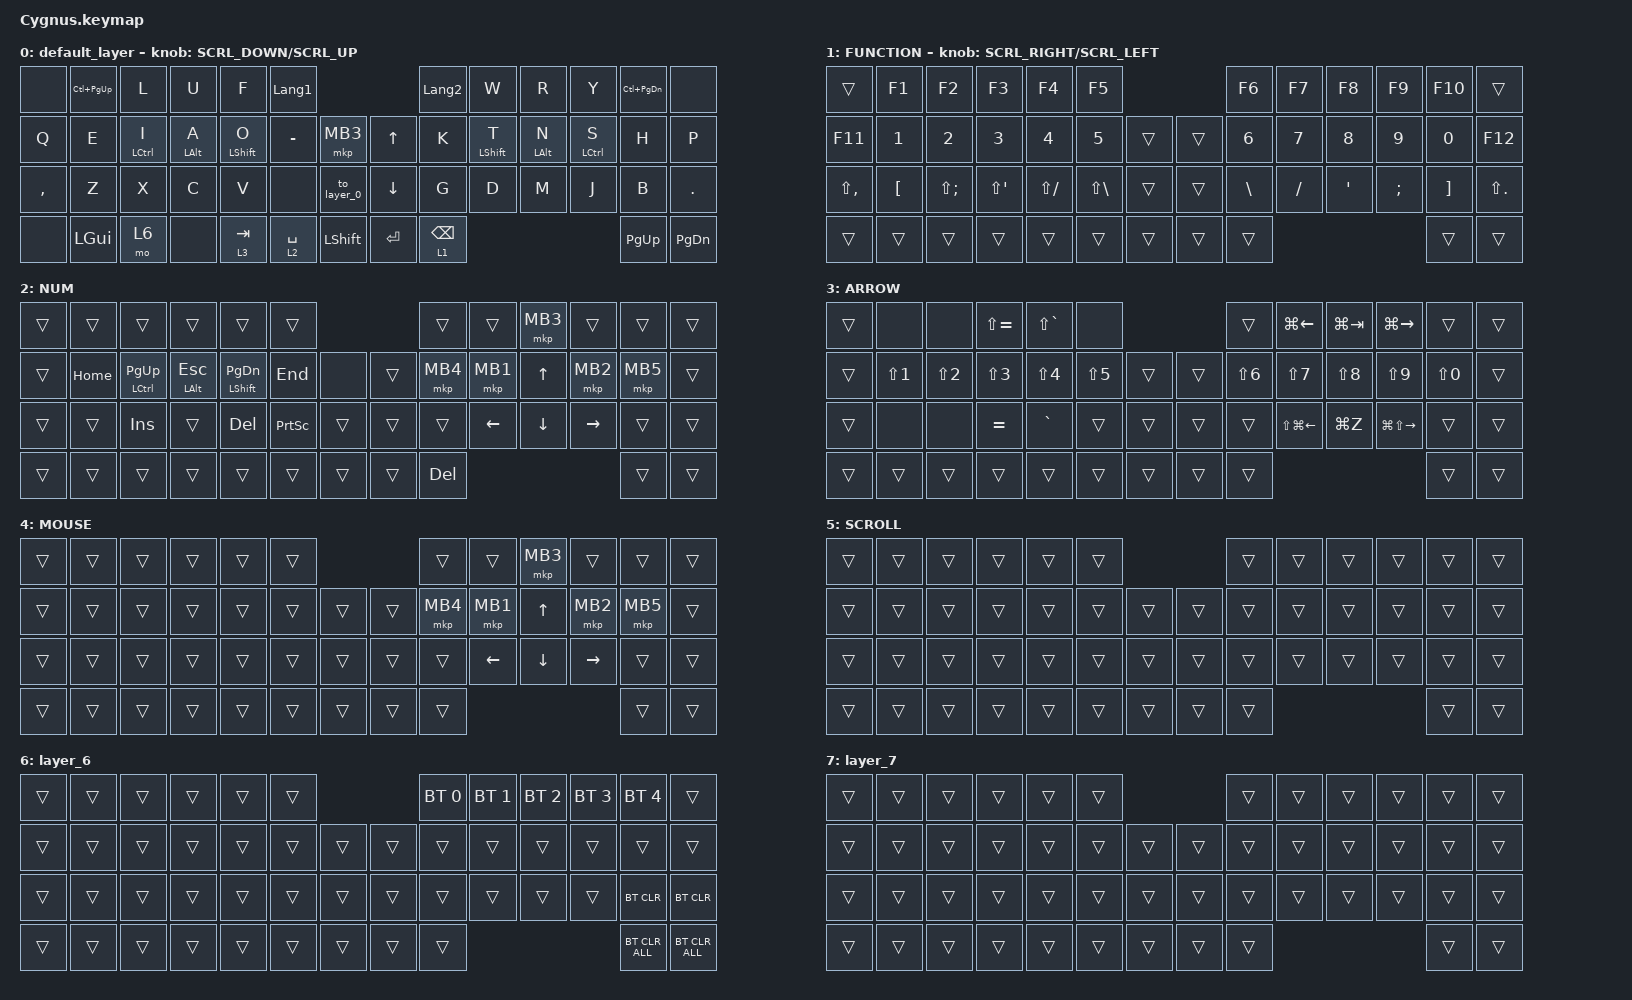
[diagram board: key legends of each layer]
#define ZMK_POINTING_DEFAULT_SCRL_VAL 120    // default: 10

#include <behaviors.dtsi>
#include <dt-bindings/zmk/bt.h>
#include <dt-bindings/zmk/keys.h>
#include <dt-bindings/zmk/pointing.h>

#define MOUSE 4
#define SCROLL 5
#define NUM 6

&mt {
    flavor = "balanced";
    quick-tap-ms = <0>;
};

/ {
    combos {
        compatible = "zmk,combos";

        double_quotation {
            bindings = <&kp DOUBLE_QUOTES>;
            key-positions = <20 21>;
        };
    };

    macros {
        to_layer_0: to_layer_0 {
            compatible = "zmk,behavior-macro";
            #binding-cells = <0>;
            bindings = <&kp NUMBER_1 &kp Q &kp W &kp E &kp R &kp T &kp Y &kp U &kp I &kp O &kp P &kp HASH>;
            label = "TO_LAYER_0";
        };
    };

    behaviors {
        lt_to_layer_0: lt_to_layer_0 {
            compatible = "zmk,behavior-hold-tap";
            label = "LAYER_TAP_TO_0";
            bindings = <&mo>, <&to_layer_0>;

            #binding-cells = <2>;
            tapping-term-ms = <200>;
        };

        ROTATE: ROTATE {
            compatible = "zmk,behavior-sensor-rotate-var";
            label = "ROTATE";
            #sensor-binding-cells = <2>;
            bindings = <&msc>, <&msc>;

            tap-ms = <20>;
        };
    };

    keymap {
        compatible = "zmk,keymap";

        default_layer {
            bindings = <
&none      &kp LC(PG_UP)  &kp L        &kp U           &kp F             &kp LANGUAGE_1                                    &kp LANGUAGE_2   &kp W             &kp R           &kp Y        &kp LC(PAGE_DOWN)  &none
&kp Q      &kp E          &mt LCTRL I  &mt LEFT_ALT A  &mt LEFT_SHIFT O  &kp MINUS       &mkp MB3          &kp UP_ARROW    &kp K            &mt LEFT_SHIFT T  &mt LEFT_ALT N  &mt LCTRL S  &kp H              &kp P
&kp COMMA  &kp Z          &kp X        &kp C           &kp V             &none           &to_layer_0       &kp DOWN_ARROW  &kp G            &kp D             &kp M           &kp J        &kp B              &kp PERIOD
&none      &kp LGUI       &mo 6        &none           &lt 3 TAB         &lt 2 SPACE     &kp LEFT_SHIFT    &kp ENTER       &lt 1 BACKSPACE                                                 &kp PG_UP          &kp PG_DN
            >;

            sensor-bindings = <&ROTATE SCRL_DOWN SCRL_UP>;
        };

        FUNCTION {
            bindings = <
&trans         &kp F1            &kp F2             &kp F3                &kp F4         &kp F5                               &kp F6         &kp F7     &kp F8            &kp F9         &kp F10            &trans
&kp F11        &kp N1            &kp N2             &kp N3                &kp N4         &kp N5             &trans    &trans  &kp N6         &kp N7     &kp N8            &kp N9         &kp N0             &kp F12
&kp LS(COMMA)  &kp LEFT_BRACKET  &kp LS(SEMICOLON)  &kp LS(SINGLE_QUOTE)  &kp LS(SLASH)  &kp LS(BACKSLASH)  &trans    &trans  &kp BACKSLASH  &kp SLASH  &kp SINGLE_QUOTE  &kp SEMICOLON  &kp RIGHT_BRACKET  &kp LS(PERIOD)
&trans         &trans            &trans             &trans                &trans         &trans             &trans    &trans  &trans                                                     &trans             &trans
            >;

            sensor-bindings = <&ROTATE SCRL_RIGHT SCRL_LEFT>;
        };

        NUM {
            bindings = <
&trans  &trans    &trans           &trans            &trans                &trans                             &trans    &trans          &mkp MB3        &trans           &trans    &trans
&trans  &kp HOME  &mt LCTRL PG_UP  &mt LEFT_ALT ESC  &mt LEFT_SHIFT PG_DN  &kp END          &none     &trans  &mkp MB4  &mkp MB1        &kp UP_ARROW    &mkp MB2         &mkp MB5  &trans
&trans  &trans    &kp INS          &trans            &kp DEL               &kp PRINTSCREEN  &trans    &trans  &trans    &kp LEFT_ARROW  &kp DOWN_ARROW  &kp RIGHT_ARROW  &trans    &trans
&trans  &trans    &trans           &trans            &trans                &trans           &trans    &trans  &kp DEL                                                    &trans    &trans
            >;
        };

        ARROW {
            bindings = <
&trans  &none       &none       &kp LS(EQUAL)  &kp LS(GRAVE)  &none                         &trans      &kp LG(LEFT_ARROW)      &kp LG(TAB)  &kp LG(RIGHT_ARROW)      &trans      &trans
&trans  &kp LS(N1)  &kp LS(N2)  &kp LS(N3)     &kp LS(N4)     &kp LS(N5)  &trans    &trans  &kp LS(N6)  &kp LS(N7)              &kp LS(N8)   &kp LS(N9)               &kp LS(N0)  &trans
&trans  &none       &none       &kp EQUAL      &kp GRAVE      &trans      &trans    &trans  &trans      &kp LS(LG(LEFT_ARROW))  &kp LG(Z)    &kp LG(LS(RIGHT_ARROW))  &trans      &trans
&trans  &trans      &trans      &trans         &trans         &trans      &trans    &trans  &trans                                                                    &trans      &trans
            >;
        };

        MOUSE {
            bindings = <
&trans  &trans  &trans  &trans  &trans  &trans                    &trans    &trans          &mkp MB3        &trans           &trans    &trans
&trans  &trans  &trans  &trans  &trans  &trans  &trans    &trans  &mkp MB4  &mkp MB1        &kp UP_ARROW    &mkp MB2         &mkp MB5  &trans
&trans  &trans  &trans  &trans  &trans  &trans  &trans    &trans  &trans    &kp LEFT_ARROW  &kp DOWN_ARROW  &kp RIGHT_ARROW  &trans    &trans
&trans  &trans  &trans  &trans  &trans  &trans  &trans    &trans  &trans                                                     &trans    &trans
            >;
        };

        SCROLL {
            bindings = <
&trans  &trans  &trans  &trans  &trans  &trans                    &trans  &trans  &trans  &trans  &trans  &trans
&trans  &trans  &trans  &trans  &trans  &trans  &trans    &trans  &trans  &trans  &trans  &trans  &trans  &trans
&trans  &trans  &trans  &trans  &trans  &trans  &trans    &trans  &trans  &trans  &trans  &trans  &trans  &trans
&trans  &trans  &trans  &trans  &trans  &trans  &trans    &trans  &trans                          &trans  &trans
            >;
        };

        layer_6 {
            bindings = <
&trans  &trans  &trans  &trans  &trans  &trans                    &bt BT_SEL 0  &bt BT_SEL 1  &bt BT_SEL 2  &bt BT_SEL 3  &bt BT_SEL 4    &trans
&trans  &trans  &trans  &trans  &trans  &trans  &trans    &trans  &trans        &trans        &trans        &trans        &trans          &trans
&trans  &trans  &trans  &trans  &trans  &trans  &trans    &trans  &trans        &trans        &trans        &trans        &bt BT_CLR      &bt BT_CLR
&trans  &trans  &trans  &trans  &trans  &trans  &trans    &trans  &trans                                                  &bt BT_CLR_ALL  &bt BT_CLR_ALL
            >;
        };

        layer_7 {
            bindings = <
&trans  &trans  &trans  &trans  &trans  &trans                    &trans  &trans  &trans  &trans  &trans  &trans
&trans  &trans  &trans  &trans  &trans  &trans  &trans    &trans  &trans  &trans  &trans  &trans  &trans  &trans
&trans  &trans  &trans  &trans  &trans  &trans  &trans    &trans  &trans  &trans  &trans  &trans  &trans  &trans
&trans  &trans  &trans  &trans  &trans  &trans  &trans    &trans  &trans                          &trans  &trans
            >;
        };
    };
};
